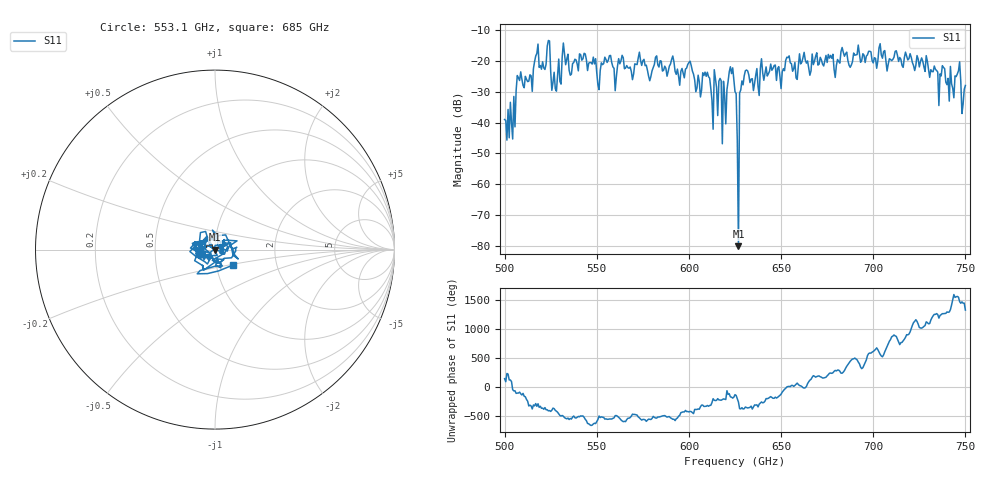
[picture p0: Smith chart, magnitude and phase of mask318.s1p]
!Created with skrf (http://scikit-rf.org).
# GHz S MA R 50.0
!freq magS11 angS11
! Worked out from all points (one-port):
!   401 points, 500 GHz to 750 GHz, reference 50 ohm
!   lowest |S11| = -80.2 dB at 626.9 GHz (marker M1), VSWR 1.00, Z = 50 + j0.00975 ohm
!   |S11| at or under -10 dB: start of sweep to end of sweep
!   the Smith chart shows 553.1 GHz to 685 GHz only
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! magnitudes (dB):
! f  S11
! 500 GHz  -39.0
! 505 GHz  -31.5
! 507.5 GHz  -25.4
! 513.8 GHz  -24.4
! 516.9 GHz  -18.3
! 523.8 GHz  -13.2
! 526.9 GHz  -23.6
! 531.2 GHz  -18.5
! 542.5 GHz  -19.2
! 551.2 GHz  -29.2
! 562.5 GHz  -20.8
! 593.8 GHz  -22.6
! 610 GHz  -23.6
! 611.9 GHz  -28.9
! 619.4 GHz  -31.1
! 623.1 GHz  -24.0
! 625 GHz  -29.9
! 625.6 GHz  -30.6
! 626.9 GHz  -80.2
! 628.1 GHz  -29.3
! 628.8 GHz  -26.4
! 631.2 GHz  -22.9
! 656.2 GHz  -23.3
! 687.5 GHz  -22.0
! 718.8 GHz  -19.6
! 742.5 GHz  -27.4
! 745.6 GHz  -24.1
! 750 GHz  -27.9
